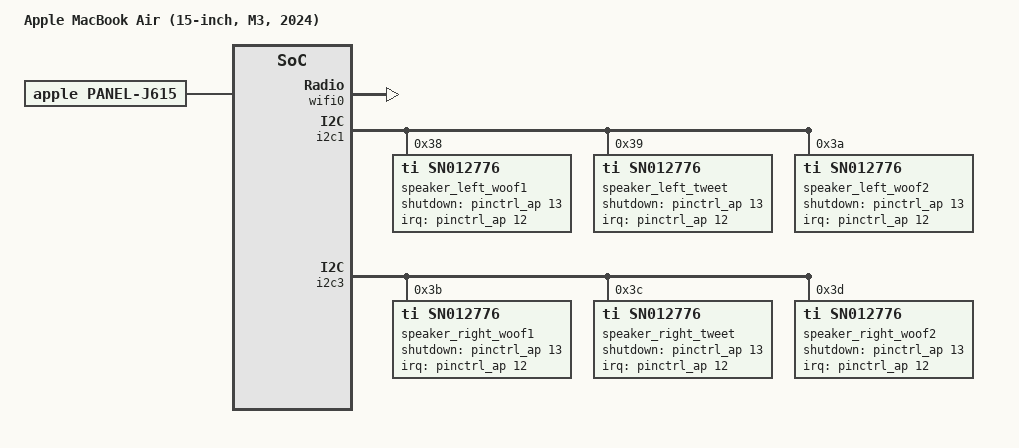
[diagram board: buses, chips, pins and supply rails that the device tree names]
// SPDX-License-Identifier: GPL-2.0+ OR MIT
/*
 * Apple MacBook Air (15-inch, M3, 2024)
 *
 * target-type: J615
 *
 * Copyright The Asahi Linux Contributors
 */

/dts-v1/;

#include "t8122.dtsi"
#include "t8122-j613-j615.dtsi"

/ {
	compatible = "apple,j615", "apple,t8122", "apple,arm-platform";
	model = "Apple MacBook Air (15-inch, M3, 2024)";
};

&dcp {
	panel: panel {
		compatible = "apple,panel-j615", "apple,panel";
		/* 2880x1864 at 224 ppi; 64 notch rows above the desktop. */
		width-mm = <327>;
		height-mm = <211>;
		adj-height-mm = <204>;
		apple,max-brightness = <500>;
	};
};

&wifi0 {
	brcm,board-type = "apple,tuzla";
};

&bluetooth0 {
	brcm,board-type = "apple,tuzla";
};

&aop_audio {
	apple,chassis-name = "J615";
};

&i2c1 {
	speaker_left_woof1: codec@38 {
		compatible = "ti,sn012776", "ti,tas2764";
		reg = <0x38>;
		shutdown-gpios = <&pinctrl_ap 13 GPIO_ACTIVE_HIGH>;
		#sound-dai-cells = <0>;
		sound-name-prefix = "Left Woofer 1";
		interrupts-extended = <&pinctrl_ap 12 IRQ_TYPE_LEVEL_LOW>;
		ti,imon-slot-no = <0>;
		ti,vmon-slot-no = <2>;
	};

	speaker_left_tweet: codec@39 {
		compatible = "ti,sn012776", "ti,tas2764";
		reg = <0x39>;
		shutdown-gpios = <&pinctrl_ap 13 GPIO_ACTIVE_HIGH>;
		#sound-dai-cells = <0>;
		sound-name-prefix = "Left Tweeter";
		interrupts-extended = <&pinctrl_ap 12 IRQ_TYPE_LEVEL_LOW>;
		ti,imon-slot-no = <8>;
		ti,vmon-slot-no = <10>;
	};

	speaker_left_woof2: codec@3a {
		compatible = "ti,sn012776", "ti,tas2764";
		reg = <0x3a>;
		shutdown-gpios = <&pinctrl_ap 13 GPIO_ACTIVE_HIGH>;
		#sound-dai-cells = <0>;
		sound-name-prefix = "Left Woofer 2";
		interrupts-extended = <&pinctrl_ap 12 IRQ_TYPE_LEVEL_LOW>;
		ti,imon-slot-no = <16>;
		ti,vmon-slot-no = <18>;
	};
};

&i2c3 {
	speaker_right_woof1: codec@3b {
		compatible = "ti,sn012776", "ti,tas2764";
		reg = <0x3b>;
		shutdown-gpios = <&pinctrl_ap 13 GPIO_ACTIVE_HIGH>;
		#sound-dai-cells = <0>;
		sound-name-prefix = "Right Woofer 1";
		interrupts-extended = <&pinctrl_ap 12 IRQ_TYPE_LEVEL_LOW>;
		ti,imon-slot-no = <4>;
		ti,vmon-slot-no = <6>;
	};

	speaker_right_tweet: codec@3c {
		compatible = "ti,sn012776", "ti,tas2764";
		reg = <0x3c>;
		shutdown-gpios = <&pinctrl_ap 13 GPIO_ACTIVE_HIGH>;
		#sound-dai-cells = <0>;
		sound-name-prefix = "Right Tweeter";
		interrupts-extended = <&pinctrl_ap 12 IRQ_TYPE_LEVEL_LOW>;
		ti,imon-slot-no = <12>;
		ti,vmon-slot-no = <14>;
	};

	speaker_right_woof2: codec@3d {
		compatible = "ti,sn012776", "ti,tas2764";
		reg = <0x3d>;
		shutdown-gpios = <&pinctrl_ap 13 GPIO_ACTIVE_HIGH>;
		#sound-dai-cells = <0>;
		sound-name-prefix = "Right Woofer 2";
		interrupts-extended = <&pinctrl_ap 12 IRQ_TYPE_LEVEL_LOW>;
		ti,imon-slot-no = <20>;
		ti,vmon-slot-no = <22>;
	};
};

/ {
	sound {
		compatible = "apple,j615-macaudio", "apple,j415-macaudio", "apple,macaudio";
		model = "MacBook Air J615";

		dai-link@0 {
			link-name = "Speakers";
			dai-tdm-idle-mode-0 = "zero";
			dai-tdm-idle-mode-3 = "zero";
			dai-tdm-slot-tx-idle-mask-0 = <0x0f0f0f>;
			dai-tdm-slot-tx-idle-mask-3 = <0xf0f0f0>;

			cpu {
				sound-dai = <&mca 0>, <&mca 1>;
			};
			codec {
				sound-dai = <&speaker_left_woof1>, <&speaker_left_tweet>, <&speaker_left_woof2>,
					    <&speaker_right_woof1>, <&speaker_right_tweet>, <&speaker_right_woof2>;
			};
		};

		dai-link@1 {
			link-name = "Headphone Jack";

			cpu {
				sound-dai = <&mca 2>;
			};
			codec {
				sound-dai = <&jack_codec>;
			};
		};
	};
};

&mtp_mt {
	firmware-name = "apple/tpmtfw-j615.bin";
};

&mesa {
	/* Per-device factory data from this Mac's own iBoot system container. */
	firmware-name = "apple/mesacal-j615.bin";
};
